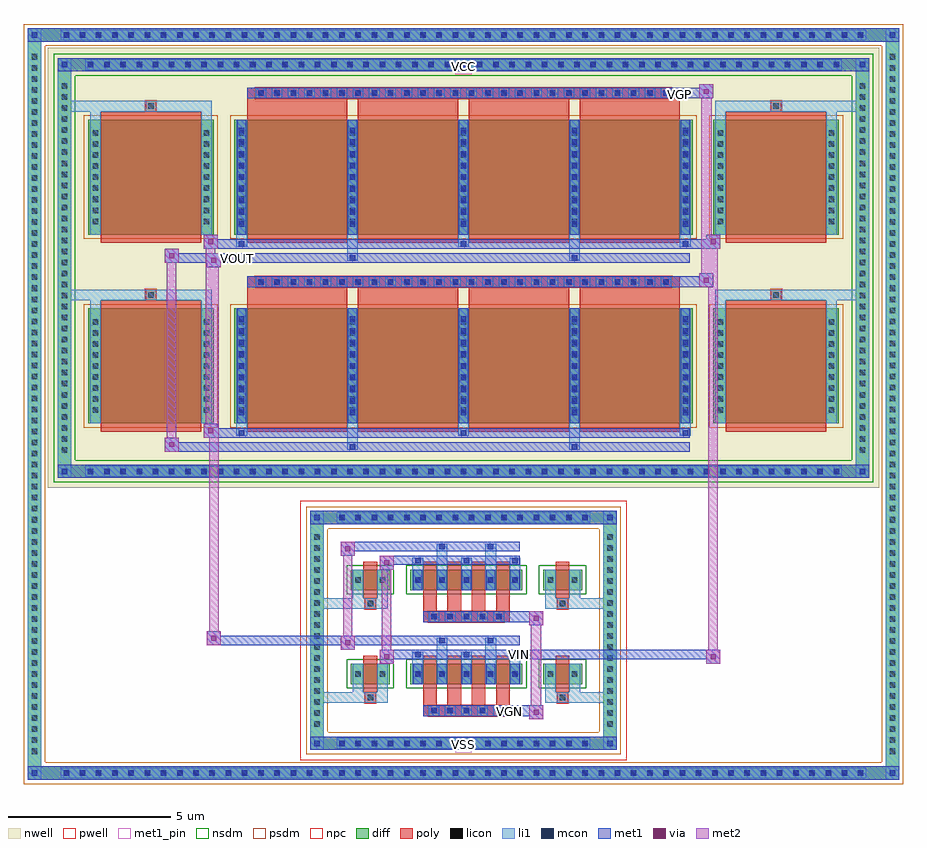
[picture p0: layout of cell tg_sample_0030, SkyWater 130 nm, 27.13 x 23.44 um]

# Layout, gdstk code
import gdstk
lib = gdstk.Library(unit=1e-6, precision=5e-09)
def R(c, l, rs):  # rectangles x0, y0, x1, y1
    for r in rs: c.add(gdstk.rectangle(r[:2], r[2:], *l))
def A(c, l, x, y, w, h, nx, ny, dx, dy):  # array of equal rectangles
    R(c, l, [(x+i*dx, y+j*dy, x+i*dx+w, y+j*dy+h) for i in range(nx) for j in range(ny)])
def P(c, l, *ps):  # polygons
    for p in ps: c.add(gdstk.Polygon(p, *l))
nwell = (64, 20)
pwell = (64, 44)
diff = (65, 20)
poly = (66, 20)
licon = (66, 44)
li1 = (67, 20)
mcon = (67, 44)
met1_pin = (68, 16)
met1 = (68, 20)
via = (68, 44)
met2 = (69, 20)
nsdm = (93, 44)
psdm = (94, 20)
npc = (95, 20)

tg_sample_0030 = lib.new_cell('tg_sample_0030')
R(tg_sample_0030, nwell, [(-12.825,4.395,12.825,17.965)])
R(tg_sample_0030, pwell, [(-5.035,-3.995,5.035,3.995)])
A(tg_sample_0030, diff, -12.455, -4.605, 0.41, 0.41, 50, 2, 0.5, 22.77)
A(tg_sample_0030, diff, -13.435, -3.93, 0.41, 0.41, 1, 64, 0, 0.34)
A(tg_sample_0030, diff, 13.025, -3.93, 0.41, 0.41, 1, 64, 0, 0.34)
A(tg_sample_0030, diff, -3.955, -3.685, 0.41, 0.41, 16, 2, 0.5, 6.96)
A(tg_sample_0030, diff, -4.725, -3.095, 0.41, 0.41, 1, 18, 0, 0.34)
A(tg_sample_0030, diff, 4.315, -3.095, 0.41, 0.41, 1, 18, 0, 0.34)
A(tg_sample_0030, diff, -11.705, 4.705, 0.41, 0.41, 47, 2, 0.5, 12.54)
A(tg_sample_0030, diff, -12.515, 5.365, 0.41, 0.41, 1, 34, 0, 0.34)
A(tg_sample_0030, diff, 12.105, 5.365, 0.41, 0.41, 1, 34, 0, 0.34)
R(tg_sample_0030, diff, [(-12.455,-4.605,12.455,-4.195), (-13.435,-3.93,-13.025,17.9), (13.025,-3.93,13.435,17.9), (-3.955,-3.685,3.955,-3.275), (-4.725,-3.095,-4.315,3.095), (4.315,-3.095,4.725,3.095), (-3.475,-1.655,-2.275,-1.025), (-1.635,-1.655,1.815,-1.025), (2.455,-1.655,3.655,-1.025), (-3.475,1.245,-2.275,1.875), (-1.635,1.245,1.815,1.875), (2.455,1.245,3.655,1.875), (-3.955,3.275,3.955,3.685), (-11.705,4.705,11.705,5.115), (-12.515,5.365,-12.105,16.995), (12.105,5.365,12.515,16.995), (-11.575,6.385,-7.705,9.935), (-7.065,6.385,7.065,9.935), (7.705,6.385,11.575,9.935), (-11.575,12.205,-7.705,15.755), (-7.065,12.205,7.065,15.755), (7.705,12.205,11.575,15.755), (-11.705,17.245,11.705,17.655), (-12.455,18.165,12.455,18.575)])
P(tg_sample_0030, diff, [(4.725,3.685),(-4.725,3.685),(-4.725,-3.275),(-4.315,-3.275),(-4.315,3.275),(4.315,3.275),(4.315,-3.275),(-4.315,-3.275),(-4.725,-3.275),(-4.725,-3.685),(4.725,-3.685)],
  [(13.435,18.575),(-13.435,18.575),(-13.435,-4.195),(-13.025,-4.195),(-13.025,18.165),(13.025,18.165),(13.025,-4.195),(-13.025,-4.195),(-13.435,-4.195),(-13.435,-4.605),(13.435,-4.605)],
  [(12.515,4.705),(-12.515,4.705),(-12.515,17.245),(-12.105,17.245),(-12.105,5.115),(12.105,5.115),(12.105,17.245),(-12.105,17.245),(-12.515,17.245),(-12.515,17.655),(12.515,17.655)])
A(tg_sample_0030, poly, -1.075, -2.64, 0.33, 0.33, 5, 2, 0.5, 2.9)
A(tg_sample_0030, poly, -1.245, -2.31, 0.42, 0.405, 4, 2, 0.75, 2.9)
A(tg_sample_0030, poly, -1.245, -1.905, 0.42, 1.13, 4, 2, 0.75, 2.9)
A(tg_sample_0030, poly, -6.675, 6.135, 3.09, 4.05, 4, 2, 3.42, 5.82)
A(tg_sample_0030, poly, -6.675, 10.185, 3.09, 0.405, 4, 2, 3.42, 5.82)
A(tg_sample_0030, poly, -6.415, 10.59, 0.33, 0.33, 26, 2, 0.5, 5.82)
R(tg_sample_0030, poly, [(-1.245,-2.64,1.425,-2.31), (-3.04,-2.235,-2.71,-1.905), (-3.04,-2.235,-2.71,-1.905), (2.89,-2.235,3.22,-1.905), (2.89,-2.235,3.22,-1.905), (-3.085,-1.905,-2.665,-0.775), (2.845,-1.905,3.265,-0.775), (-1.245,0.26,1.425,0.59), (-3.04,0.665,-2.71,0.995), (-3.04,0.665,-2.71,0.995), (2.89,0.665,3.22,0.995), (2.89,0.665,3.22,0.995), (-3.085,0.995,-2.665,2.125), (2.845,0.995,3.265,2.125), (-11.185,6.135,-8.095,10.185), (8.095,6.135,11.185,10.185), (-9.805,10.185,-9.475,10.515), (-9.805,10.185,-9.475,10.515), (9.475,10.185,9.805,10.515), (9.475,10.185,9.805,10.515), (-6.675,10.59,6.675,10.92), (-11.185,11.955,-8.095,16.005), (8.095,11.955,11.185,16.005), (-9.805,16.005,-9.475,16.335), (-9.805,16.005,-9.475,16.335), (9.475,16.005,9.805,16.335), (9.475,16.005,9.805,16.335), (-6.675,16.41,6.675,16.74)])
A(tg_sample_0030, licon, -12.335, -4.485, 0.17, 0.17, 50, 2, 0.5, 22.77)
A(tg_sample_0030, licon, -13.315, -3.81, 0.17, 0.17, 1, 64, 0, 0.34)
A(tg_sample_0030, licon, 13.145, -3.81, 0.17, 0.17, 1, 64, 0, 0.34)
A(tg_sample_0030, licon, -3.835, -3.565, 0.17, 0.17, 16, 2, 0.5, 6.96)
A(tg_sample_0030, licon, -4.605, -2.975, 0.17, 0.17, 1, 18, 0, 0.34)
A(tg_sample_0030, licon, 4.435, -2.975, 0.17, 0.17, 1, 18, 0, 0.34)
A(tg_sample_0030, licon, -0.995, -2.56, 0.17, 0.17, 5, 2, 0.5, 2.9)
A(tg_sample_0030, licon, -1.495, -1.425, 0.17, 0.17, 5, 2, 0.75, 2.9)
A(tg_sample_0030, licon, -11.585, 4.825, 0.17, 0.17, 47, 2, 0.5, 12.54)
A(tg_sample_0030, licon, -12.395, 5.485, 0.17, 0.17, 1, 34, 0, 0.34)
A(tg_sample_0030, licon, 12.225, 5.485, 0.17, 0.17, 1, 34, 0, 0.34)
A(tg_sample_0030, licon, -11.435, 6.715, 0.17, 0.17, 1, 9, 0, 0.34)
A(tg_sample_0030, licon, -8.015, 6.715, 0.17, 0.17, 1, 9, 0, 0.34)
A(tg_sample_0030, licon, -6.925, 6.715, 0.17, 0.17, 5, 9, 3.42, 0.34)
A(tg_sample_0030, licon, 7.845, 6.715, 0.17, 0.17, 1, 9, 0, 0.34)
A(tg_sample_0030, licon, 11.265, 6.715, 0.17, 0.17, 1, 9, 0, 0.34)
A(tg_sample_0030, licon, -6.335, 10.67, 0.17, 0.17, 26, 2, 0.5, 5.82)
A(tg_sample_0030, licon, -11.435, 12.535, 0.17, 0.17, 1, 9, 0, 0.34)
A(tg_sample_0030, licon, -8.015, 12.535, 0.17, 0.17, 1, 9, 0, 0.34)
A(tg_sample_0030, licon, -6.925, 12.535, 0.17, 0.17, 5, 9, 3.42, 0.34)
A(tg_sample_0030, licon, 7.845, 12.535, 0.17, 0.17, 1, 9, 0, 0.34)
A(tg_sample_0030, licon, 11.265, 12.535, 0.17, 0.17, 1, 9, 0, 0.34)
R(tg_sample_0030, licon, [(-2.96,-2.155,-2.79,-1.985), (2.97,-2.155,3.14,-1.985), (-3.335,-1.425,-3.165,-1.255), (-2.585,-1.425,-2.415,-1.255), (2.595,-1.425,2.765,-1.255), (3.345,-1.425,3.515,-1.255), (-2.96,0.745,-2.79,0.915), (2.97,0.745,3.14,0.915), (-3.335,1.475,-3.165,1.645), (-2.585,1.475,-2.415,1.645), (2.595,1.475,2.765,1.645), (3.345,1.475,3.515,1.645), (-9.725,10.265,-9.555,10.435), (9.555,10.265,9.725,10.435), (-9.725,16.085,-9.555,16.255), (9.555,16.085,9.725,16.255)])
A(tg_sample_0030, li1, -12.415, -4.565, 0.33, 0.33, 50, 2, 0.5, 22.77)
A(tg_sample_0030, li1, -13.395, -3.89, 0.33, 0.33, 1, 64, 0, 0.34)
A(tg_sample_0030, li1, 13.065, -3.89, 0.33, 0.33, 1, 64, 0, 0.34)
A(tg_sample_0030, li1, -3.915, -3.645, 0.33, 0.33, 16, 2, 0.5, 6.96)
A(tg_sample_0030, li1, -4.685, -3.055, 0.33, 0.33, 1, 18, 0, 0.34)
A(tg_sample_0030, li1, 4.355, -3.055, 0.33, 0.33, 1, 18, 0, 0.34)
A(tg_sample_0030, li1, -1.075, -2.64, 0.33, 0.33, 5, 2, 0.5, 2.9)
A(tg_sample_0030, li1, -1.575, -1.655, 0.33, 0.63, 5, 2, 0.75, 2.9)
A(tg_sample_0030, li1, -1.575, -1.505, 0.33, 0.33, 5, 2, 0.75, 2.9)
A(tg_sample_0030, li1, -1.575, -1.025, 0.33, 0.375, 3, 2, 1.5, 2.9)
A(tg_sample_0030, li1, -1.495, -0.82, 0.17, 0.17, 3, 2, 1.5, 2.9)
A(tg_sample_0030, li1, -11.665, 4.745, 0.33, 0.33, 47, 2, 0.5, 12.54)
A(tg_sample_0030, li1, -12.475, 5.405, 0.33, 0.33, 1, 34, 0, 0.34)
A(tg_sample_0030, li1, 12.145, 5.405, 0.33, 0.33, 1, 34, 0, 0.34)
A(tg_sample_0030, li1, -7.005, 6.01, 0.33, 0.375, 3, 2, 6.84, 5.82)
A(tg_sample_0030, li1, -6.925, 6.01, 0.17, 0.17, 3, 2, 6.84, 5.82)
A(tg_sample_0030, li1, -7.005, 6.385, 0.33, 3.55, 5, 2, 3.42, 5.82)
A(tg_sample_0030, li1, -11.515, 6.635, 0.33, 0.33, 1, 9, 0, 0.34)
A(tg_sample_0030, li1, -8.095, 6.635, 0.33, 0.33, 1, 9, 0, 0.34)
A(tg_sample_0030, li1, -7.005, 6.635, 0.33, 0.33, 5, 9, 3.42, 0.34)
A(tg_sample_0030, li1, -6.925, 6.635, 0.17, 0.17, 5, 9, 3.42, 0.36)
A(tg_sample_0030, li1, -6.925, 6.635, 0.17, 3.05, 5, 2, 3.42, 5.82)
A(tg_sample_0030, li1, 7.765, 6.635, 0.33, 0.33, 1, 9, 0, 0.34)
A(tg_sample_0030, li1, 11.185, 6.635, 0.33, 0.33, 1, 9, 0, 0.34)
A(tg_sample_0030, li1, -6.415, 10.59, 0.33, 0.33, 26, 2, 0.5, 5.82)
A(tg_sample_0030, li1, -11.515, 12.455, 0.33, 0.33, 1, 9, 0, 0.34)
A(tg_sample_0030, li1, -8.095, 12.455, 0.33, 0.33, 1, 9, 0, 0.34)
A(tg_sample_0030, li1, -7.005, 12.455, 0.33, 0.33, 5, 9, 3.42, 0.34)
A(tg_sample_0030, li1, -6.925, 12.455, 0.17, 0.17, 5, 9, 3.42, 0.36)
A(tg_sample_0030, li1, 7.765, 12.455, 0.33, 0.33, 1, 9, 0, 0.34)
A(tg_sample_0030, li1, 11.185, 12.455, 0.33, 0.33, 1, 9, 0, 0.34)
R(tg_sample_0030, li1, [(-13.435,-4.605,-13.025,-4.195), (13.025,-4.605,13.435,-4.195), (-12.415,-4.565,12.415,-4.235), (-13.315,-4.485,-13.145,-4.315), (-13.315,-4.485,-13.145,-4.315), (13.145,-4.485,13.315,-4.315), (13.145,-4.485,13.315,-4.315), (-13.435,-4.195,-13.025,18.165), (13.025,-4.195,13.435,18.165), (-4.725,-3.685,-4.315,-3.275), (4.315,-3.685,4.725,-3.275), (-3.915,-3.645,3.915,-3.315), (-4.605,-3.565,-4.435,-3.395), (-4.605,-3.565,-4.435,-3.395), (4.435,-3.565,4.605,-3.395), (4.435,-3.565,4.605,-3.395), (-4.725,-3.275,-4.315,3.275), (4.315,-3.275,4.725,3.275), (-4.725,-2.235,-3.04,-1.905), (-3.415,-2.235,-3.04,-1.905), (-3.415,-2.235,-3.085,-1.655), (-3.04,-2.235,-2.71,-1.905), (-2.71,-2.235,-2.335,-1.905), (-2.665,-2.235,-2.335,-1.655), (2.515,-2.235,2.89,-1.905), (2.515,-2.235,2.845,-1.655), (2.89,-2.235,3.22,-1.905), (2.89,-2.235,4.725,-1.905), (3.22,-2.235,3.595,-1.905), (3.265,-2.235,3.595,-1.655), (-3.415,-1.655,-3.085,-1.025), (-2.665,-1.655,-2.335,-1.025), (2.515,-1.655,2.845,-1.025), (3.265,-1.655,3.595,-1.025), (-3.415,-1.505,-3.085,-1.175), (-2.665,-1.505,-2.335,-1.175), (2.515,-1.505,2.845,-1.175), (3.265,-1.505,3.595,-1.175), (-1.495,-1.425,-1.325,-1.255), (-1.495,-1.425,-1.325,-1.255), (-0.745,-1.425,-0.575,-1.255), (-0.745,-1.425,-0.575,-1.255), (0.005,-1.425,0.175,-1.255), (0.005,-1.425,0.175,-1.255), (0.755,-1.425,0.925,-1.255), (0.755,-1.425,0.925,-1.255), (1.505,-1.425,1.675,-1.255), (1.505,-1.425,1.675,-1.255), (-0.825,-1.025,-0.495,-0.22), (0.675,-1.025,1.005,-0.22), (-0.745,-0.39,-0.575,-0.22), (0.755,-0.39,0.925,-0.22), (-4.725,0.665,-3.04,0.995), (-3.415,0.665,-3.04,0.995), (-3.415,0.665,-3.085,1.245), (-3.04,0.665,-2.71,0.995), (-2.71,0.665,-2.335,0.995), (-2.665,0.665,-2.335,1.245), (2.515,0.665,2.89,0.995), (2.515,0.665,2.845,1.245), (2.89,0.665,3.22,0.995), (2.89,0.665,4.725,0.995), (3.22,0.665,3.595,0.995), (3.265,0.665,3.595,1.245), (-3.415,1.245,-3.085,1.875), (-2.665,1.245,-2.335,1.875), (2.515,1.245,2.845,1.875), (3.265,1.245,3.595,1.875), (-3.415,1.395,-3.085,1.725), (-2.665,1.395,-2.335,1.725), (2.515,1.395,2.845,1.725), (3.265,1.395,3.595,1.725), (-1.495,1.475,-1.325,1.645), (-1.495,1.475,-1.325,1.645), (-0.745,1.475,-0.575,1.645), (-0.745,1.475,-0.575,1.645), (0.005,1.475,0.175,1.645), (0.005,1.475,0.175,1.645), (0.755,1.475,0.925,1.645), (0.755,1.475,0.925,1.645), (1.505,1.475,1.675,1.645), (1.505,1.475,1.675,1.645), (-0.825,1.875,-0.495,2.68), (0.675,1.875,1.005,2.68), (-0.745,2.51,-0.575,2.68), (0.755,2.51,0.925,2.68), (-4.725,3.275,-4.315,3.685), (4.315,3.275,4.725,3.685), (-3.915,3.315,3.915,3.645), (-4.605,3.395,-4.435,3.565), (-4.605,3.395,-4.435,3.565), (4.435,3.395,4.605,3.565), (4.435,3.395,4.605,3.565), (-12.515,4.705,-12.105,5.115), (12.105,4.705,12.515,5.115), (-11.665,4.745,11.665,5.075), (-12.395,4.825,-12.225,4.995), (-12.395,4.825,-12.225,4.995), (12.225,4.825,12.395,4.995), (12.225,4.825,12.395,4.995), (-12.515,5.115,-12.105,17.245), (12.105,5.115,12.515,17.245), (-3.585,5.58,-3.255,6.385), (-3.505,5.58,-3.335,5.75), (3.255,5.58,3.585,6.385), (3.335,5.58,3.505,5.75), (-11.515,6.385,-11.185,9.935), (-8.095,6.385,-7.765,9.935), (7.765,6.385,8.095,9.935), (11.185,6.385,11.515,9.935), (-11.515,9.935,-11.185,10.515), (-8.095,9.935,-7.765,10.515), (7.765,9.935,8.095,10.515), (11.185,9.935,11.515,10.515), (-12.515,10.185,-9.805,10.515), (-11.515,10.185,-9.805,10.515), (-9.805,10.185,-9.475,10.515), (-9.475,10.185,-7.765,10.515), (7.765,10.185,9.475,10.515), (9.475,10.185,9.805,10.515), (9.475,10.185,12.515,10.515), (9.805,10.185,11.515,10.515), (-3.585,11.4,-3.255,12.205), (-3.505,11.4,-3.335,11.57), (3.255,11.4,3.585,12.205), (3.335,11.4,3.505,11.57), (-11.515,12.205,-11.185,15.755), (-8.095,12.205,-7.765,15.755), (7.765,12.205,8.095,15.755), (11.185,12.205,11.515,15.755), (-11.515,15.755,-11.185,16.335), (-8.095,15.755,-7.765,16.335), (7.765,15.755,8.095,16.335), (11.185,15.755,11.515,16.335), (-12.515,16.005,-9.805,16.335), (-11.515,16.005,-9.805,16.335), (-9.805,16.005,-9.475,16.335), (-9.475,16.005,-7.765,16.335), (7.765,16.005,9.475,16.335), (9.475,16.005,9.805,16.335), (9.475,16.005,12.515,16.335), (9.805,16.005,11.515,16.335), (-12.515,17.245,-12.105,17.655), (12.105,17.245,12.515,17.655), (-11.665,17.285,11.665,17.615), (-12.395,17.365,-12.225,17.535), (-12.395,17.365,-12.225,17.535), (12.225,17.365,12.395,17.535), (12.225,17.365,12.395,17.535), (-13.435,18.165,-13.025,18.575), (13.025,18.165,13.435,18.575), (-12.415,18.205,12.415,18.535), (-13.315,18.285,-13.145,18.455), (-13.315,18.285,-13.145,18.455), (13.145,18.285,13.315,18.455), (13.145,18.285,13.315,18.455)])
A(tg_sample_0030, mcon, -12.335, -4.485, 0.17, 0.17, 50, 2, 0.5, 22.77)
A(tg_sample_0030, mcon, -3.835, -3.565, 0.17, 0.17, 16, 2, 0.5, 6.96)
A(tg_sample_0030, mcon, -0.995, -2.56, 0.17, 0.17, 5, 2, 0.5, 2.9)
A(tg_sample_0030, mcon, -1.495, -1.425, 0.17, 0.17, 5, 2, 0.75, 2.9)
A(tg_sample_0030, mcon, -1.495, -0.82, 0.17, 0.17, 3, 2, 1.5, 2.9)
A(tg_sample_0030, mcon, -11.585, 4.825, 0.17, 0.17, 47, 2, 0.5, 12.54)
A(tg_sample_0030, mcon, -6.925, 6.01, 0.17, 0.17, 3, 2, 6.84, 5.82)
A(tg_sample_0030, mcon, -6.925, 6.635, 0.17, 0.17, 5, 9, 3.42, 0.36)
A(tg_sample_0030, mcon, -6.335, 10.67, 0.17, 0.17, 26, 2, 0.5, 5.82)
A(tg_sample_0030, mcon, -6.925, 12.455, 0.17, 0.17, 5, 9, 3.42, 0.36)
R(tg_sample_0030, mcon, [(-13.315,-4.485,-13.145,-4.315), (13.145,-4.485,13.315,-4.315), (-4.605,-3.565,-4.435,-3.395), (4.435,-3.565,4.605,-3.395), (-0.745,-0.39,-0.575,-0.22), (0.755,-0.39,0.925,-0.22), (-0.745,2.51,-0.575,2.68), (0.755,2.51,0.925,2.68), (-4.605,3.395,-4.435,3.565), (4.435,3.395,4.605,3.565), (-12.395,4.825,-12.225,4.995), (12.225,4.825,12.395,4.995), (-3.505,5.58,-3.335,5.75), (3.335,5.58,3.505,5.75), (-3.505,11.4,-3.335,11.57), (3.335,11.4,3.505,11.57), (-12.395,17.365,-12.225,17.535), (12.225,17.365,12.395,17.535), (-13.315,18.285,-13.145,18.455), (13.145,18.285,13.315,18.455)])
R(tg_sample_0030, met1_pin, [(-0.25,-3.775,0.25,-3.275), (1.29,-2.64,1.56,-2.37), (1.6,-0.88,1.87,-0.61), (-7.12,11.34,-6.85,11.61), (6.54,16.41,6.81,16.68), (-0.25,17.155,0.25,17.655)])
A(tg_sample_0030, met1, -12.395, -4.545, 0.29, 0.29, 50, 2, 0.5, 22.77)
A(tg_sample_0030, met1, -3.895, -3.625, 0.29, 0.29, 16, 2, 0.5, 6.96)
A(tg_sample_0030, met1, -1.055, -2.62, 0.29, 0.29, 5, 2, 0.5, 2.9)
A(tg_sample_0030, met1, -1.555, -1.655, 0.29, 0.63, 5, 2, 0.75, 2.9)
A(tg_sample_0030, met1, -1.555, -1.485, 0.29, 0.29, 5, 2, 0.75, 2.9)
A(tg_sample_0030, met1, -1.555, -0.88, 0.29, 0.29, 3, 2, 1.5, 2.9)
A(tg_sample_0030, met1, -11.645, 4.765, 0.29, 0.29, 47, 2, 0.5, 12.54)
A(tg_sample_0030, met1, -6.985, 5.95, 0.29, 0.29, 3, 2, 6.84, 5.82)
A(tg_sample_0030, met1, -6.985, 6.385, 0.29, 3.55, 5, 2, 3.42, 5.82)
A(tg_sample_0030, met1, -6.985, 6.575, 0.29, 0.29, 5, 9, 3.42, 0.36)
A(tg_sample_0030, met1, -6.395, 10.61, 0.29, 0.29, 26, 2, 0.5, 5.82)
A(tg_sample_0030, met1, -6.985, 12.395, 0.29, 0.29, 5, 9, 3.42, 0.36)
R(tg_sample_0030, met1, [(-13.435,-4.605,-13.025,-4.195), (-13.435,-4.605,-13.025,-4.195), (-13.025,-4.605,13.025,-4.195), (13.025,-4.605,13.435,-4.195), (13.025,-4.605,13.435,-4.195), (-13.375,-4.545,-13.085,-4.255), (13.085,-4.545,13.375,-4.255), (-4.725,-3.685,-4.315,-3.275), (-4.725,-3.685,-4.315,-3.275), (-4.315,-3.685,4.315,-3.275), (4.315,-3.685,4.725,-3.275), (4.315,-3.685,4.725,-3.275), (-4.665,-3.625,-4.375,-3.335), (4.375,-3.625,4.665,-3.335), (2.025,-2.74,2.455,-2.31), (-1.245,-2.64,1.425,-2.31), (1.425,-2.64,2.455,-2.31), (-2.585,-1.02,-2.155,-0.59), (7.485,-1.02,7.915,-0.59), (-2.585,-0.88,-1.555,-0.59), (-1.555,-0.88,1.735,-0.59), (1.735,-0.88,7.915,-0.59), (-3.785,-0.59,-3.355,-0.16), (-7.915,-0.45,-7.485,-0.02), (-7.915,-0.45,-1.555,-0.16), (-3.785,-0.45,-1.555,-0.16), (-1.555,-0.45,1.735,-0.16), (-0.805,-0.45,-0.515,-0.16), (0.695,-0.45,0.985,-0.16), (2.025,0.16,2.455,0.59), (-1.245,0.26,1.425,0.59), (1.425,0.26,2.455,0.59), (-2.585,1.88,-2.155,2.31), (-2.585,2.02,-1.555,2.31), (-1.555,2.02,1.735,2.31), (-3.785,2.31,-3.355,2.74), (-3.785,2.45,-1.555,2.74), (-1.555,2.45,1.735,2.74), (-0.805,2.45,-0.515,2.74), (0.695,2.45,0.985,2.74), (-4.725,3.275,-4.315,3.685), (-4.725,3.275,-4.315,3.685), (-4.315,3.275,4.315,3.685), (4.315,3.275,4.725,3.685), (4.315,3.275,4.725,3.685), (-4.665,3.335,-4.375,3.625), (4.375,3.335,4.665,3.625), (-12.515,4.705,-12.105,5.115), (-12.515,4.705,-12.105,5.115), (-12.105,4.705,12.105,5.115), (12.105,4.705,12.515,5.115), (12.105,4.705,12.515,5.115), (-12.455,4.765,-12.165,5.055), (12.165,4.765,12.455,5.055), (-9.215,5.52,-8.785,5.95), (-9.215,5.52,-6.985,5.81), (-6.985,5.52,6.985,5.81), (-3.565,5.52,-3.275,5.81), (3.275,5.52,3.565,5.81), (-8.015,5.95,-7.585,6.38), (-8.015,5.95,-6.985,6.24), (-6.985,5.95,6.985,6.24), (-6.675,10.59,6.675,10.92), (6.675,10.59,7.705,10.92), (7.275,10.59,7.705,11.02), (-7.915,11.2,-7.485,11.63), (-9.215,11.34,-8.785,11.77), (-9.215,11.34,-6.985,11.63), (-7.915,11.34,-6.985,11.63), (-6.985,11.34,6.985,11.63), (-3.565,11.34,-3.275,11.63), (3.275,11.34,3.565,11.63), (-8.015,11.77,-7.585,12.2), (-8.015,11.77,-6.985,12.06), (-6.985,11.77,6.985,12.06), (6.985,11.77,7.915,12.06), (7.485,11.77,7.915,12.2), (-6.675,16.41,6.675,16.74), (6.675,16.41,7.705,16.74), (7.275,16.41,7.705,16.84), (-12.515,17.245,-12.105,17.655), (-12.515,17.245,-12.105,17.655), (-12.105,17.245,12.105,17.655), (12.105,17.245,12.515,17.655), (12.105,17.245,12.515,17.655), (-12.455,17.305,-12.165,17.595), (12.165,17.305,12.455,17.595), (-13.435,18.165,-13.025,18.575), (-13.435,18.165,-13.025,18.575), (-13.025,18.165,13.025,18.575), (13.025,18.165,13.435,18.575), (13.025,18.165,13.435,18.575), (-13.375,18.225,-13.085,18.515), (13.085,18.225,13.375,18.515)])
R(tg_sample_0030, via, [(2.165,-2.6,2.315,-2.45), (-2.445,-0.88,-2.295,-0.73), (7.625,-0.88,7.775,-0.73), (-3.645,-0.45,-3.495,-0.3), (-7.775,-0.31,-7.625,-0.16), (2.165,0.3,2.315,0.45), (-2.445,2.02,-2.295,2.17), (-3.645,2.45,-3.495,2.6), (-9.075,5.66,-8.925,5.81), (-7.875,6.09,-7.725,6.24), (7.415,10.73,7.565,10.88), (-7.775,11.34,-7.625,11.49), (-9.075,11.48,-8.925,11.63), (-7.875,11.91,-7.725,12.06), (7.625,11.91,7.775,12.06), (7.415,16.55,7.565,16.7)])
R(tg_sample_0030, met2, [(2.025,-2.74,2.455,-2.31), (2.075,-2.74,2.405,0.59), (2.405,-2.74,2.455,-2.31), (2.075,-2.69,2.405,-2.36), (-2.585,-1.02,-2.155,-0.59), (-2.515,-1.02,-2.225,2.31), (-2.225,-1.02,-2.155,-0.59), (7.485,-1.02,7.915,-0.59), (7.555,-1.02,7.845,12.2), (7.845,-1.02,7.915,-0.59), (-2.535,-0.97,-2.205,-0.64), (7.535,-0.97,7.865,-0.64), (-3.785,-0.59,-3.355,-0.16), (-3.715,-0.59,-3.425,2.74), (-3.425,-0.59,-3.355,-0.16), (-3.735,-0.54,-3.405,-0.21), (-7.915,-0.45,-7.485,-0.02), (-7.845,-0.45,-7.555,11.63), (-7.555,-0.45,-7.485,-0.02), (-7.865,-0.4,-7.535,-0.07), (2.025,0.16,2.455,0.59), (2.405,0.16,2.455,0.59), (2.075,0.21,2.405,0.54), (-2.585,1.88,-2.155,2.31), (-2.225,1.88,-2.155,2.31), (-2.535,1.93,-2.205,2.26), (-3.785,2.31,-3.355,2.74), (-3.425,2.31,-3.355,2.74), (-3.735,2.36,-3.405,2.69), (-9.215,5.52,-8.785,5.95), (-9.145,5.52,-8.855,11.77), (-8.855,5.52,-8.785,5.95), (-9.165,5.57,-8.835,5.9), (-8.015,5.95,-7.585,6.38), (-7.945,5.95,-7.655,12.2), (-7.655,5.95,-7.585,6.38), (-7.965,6,-7.635,6.33), (7.275,10.59,7.705,11.02), (7.325,10.59,7.655,16.84), (7.655,10.59,7.705,11.02), (7.325,10.64,7.655,10.97), (-7.915,11.2,-7.485,11.63), (-7.555,11.2,-7.485,11.63), (-7.865,11.25,-7.535,11.58), (-9.215,11.34,-8.785,11.77), (-8.855,11.34,-8.785,11.77), (-9.165,11.39,-8.835,11.72), (-8.015,11.77,-7.585,12.2), (-7.655,11.77,-7.585,12.2), (7.485,11.77,7.915,12.2), (7.845,11.77,7.915,12.2), (-7.965,11.82,-7.635,12.15), (7.535,11.82,7.865,12.15), (7.275,16.41,7.705,16.84), (7.655,16.41,7.705,16.84), (7.325,16.46,7.655,16.79)])
R(tg_sample_0030, nsdm, [(-3.605,-1.785,-2.145,-0.895), (-1.765,-1.785,1.945,-0.895), (2.325,-1.785,3.785,-0.895), (-3.605,1.115,-2.145,2.005), (-1.765,1.115,1.945,2.005), (2.325,1.115,3.785,2.005)])
P(tg_sample_0030, nsdm, [(12.645,4.575),(-12.645,4.575),(-12.645,17.115),(-11.975,17.115),(-11.975,5.245),(11.975,5.245),(11.975,17.115),(-11.975,17.115),(-12.645,17.115),(-12.645,17.785),(12.645,17.785)])
R(tg_sample_0030, psdm, [(-11.705,6.255,-7.575,10.065), (-7.195,6.255,7.195,10.065), (7.575,6.255,11.705,10.065), (-11.705,12.075,-7.575,15.885), (-7.195,12.075,7.195,15.885), (7.575,12.075,11.705,15.885)])
P(tg_sample_0030, psdm, [(4.855,3.815),(-4.855,3.815),(-4.855,-3.145),(-4.185,-3.145),(-4.185,3.145),(4.185,3.145),(4.185,-3.145),(-4.185,-3.145),(-4.855,-3.145),(-4.855,-3.815),(4.855,-3.815)],
  [(13.565,18.705),(-13.565,18.705),(-13.565,-4.065),(-12.895,-4.065),(-12.895,18.035),(12.895,18.035),(12.895,-4.065),(-12.895,-4.065),(-13.565,-4.065),(-13.565,-4.735),(13.565,-4.735)])
A(tg_sample_0030, npc, -1.095, -2.66, 0.37, 0.37, 5, 2, 0.5, 2.9)
A(tg_sample_0030, npc, -6.435, 10.57, 0.37, 0.37, 26, 2, 0.5, 5.82)
R(tg_sample_0030, npc, [(-1.095,-2.66,-0.225,-2.29), (-1.095,-2.66,-0.225,-2.29), (-0.595,-2.66,0.275,-2.29), (-0.595,-2.66,0.275,-2.29), (-0.095,-2.66,0.775,-2.29), (-0.095,-2.66,0.775,-2.29), (0.405,-2.66,1.275,-2.29), (0.405,-2.66,1.275,-2.29), (-3.06,-2.255,-2.69,-1.885), (2.87,-2.255,3.24,-1.885), (-1.095,0.24,-0.225,0.61), (-1.095,0.24,-0.225,0.61), (-0.595,0.24,0.275,0.61), (-0.595,0.24,0.275,0.61), (-0.095,0.24,0.775,0.61), (-0.095,0.24,0.775,0.61), (0.405,0.24,1.275,0.61), (0.405,0.24,1.275,0.61), (-3.06,0.645,-2.69,1.015), (2.87,0.645,3.24,1.015), (-9.825,10.165,-9.455,10.535), (9.455,10.165,9.825,10.535), (-6.435,10.57,-5.565,10.94), (-6.435,10.57,-5.565,10.94), (-5.935,10.57,-5.065,10.94), (-5.935,10.57,-5.065,10.94), (-5.435,10.57,-4.565,10.94), (-5.435,10.57,-4.565,10.94), (-4.935,10.57,-4.065,10.94), (-4.935,10.57,-4.065,10.94), (-4.435,10.57,-3.565,10.94), (-4.435,10.57,-3.565,10.94), (-3.935,10.57,-3.065,10.94), (-3.935,10.57,-3.065,10.94), (-3.435,10.57,-2.565,10.94), (-3.435,10.57,-2.565,10.94), (-2.935,10.57,-2.065,10.94), (-2.935,10.57,-2.065,10.94), (-2.435,10.57,-1.565,10.94), (-2.435,10.57,-1.565,10.94), (-1.935,10.57,-1.065,10.94), (-1.935,10.57,-1.065,10.94), (-1.435,10.57,-0.565,10.94), (-1.435,10.57,-0.565,10.94), (-0.935,10.57,-0.065,10.94), (-0.935,10.57,-0.065,10.94), (-0.435,10.57,0.435,10.94), (-0.435,10.57,0.435,10.94), (0.065,10.57,0.935,10.94), (0.065,10.57,0.935,10.94), (0.565,10.57,1.435,10.94), (0.565,10.57,1.435,10.94), (1.065,10.57,1.935,10.94), (1.065,10.57,1.935,10.94), (1.565,10.57,2.435,10.94), (1.565,10.57,2.435,10.94), (2.065,10.57,2.935,10.94), (2.065,10.57,2.935,10.94), (2.565,10.57,3.435,10.94), (2.565,10.57,3.435,10.94), (3.065,10.57,3.935,10.94), (3.065,10.57,3.935,10.94), (3.565,10.57,4.435,10.94), (3.565,10.57,4.435,10.94), (4.065,10.57,4.935,10.94), (4.065,10.57,4.935,10.94), (4.565,10.57,5.435,10.94), (4.565,10.57,5.435,10.94), (5.065,10.57,5.935,10.94), (5.065,10.57,5.935,10.94), (5.565,10.57,6.435,10.94), (5.565,10.57,6.435,10.94), (-9.825,15.985,-9.455,16.355), (9.455,15.985,9.825,16.355), (-6.435,16.39,-5.565,16.76), (-6.435,16.39,-5.565,16.76), (-5.935,16.39,-5.065,16.76), (-5.935,16.39,-5.065,16.76), (-5.435,16.39,-4.565,16.76), (-5.435,16.39,-4.565,16.76), (-4.935,16.39,-4.065,16.76), (-4.935,16.39,-4.065,16.76), (-4.435,16.39,-3.565,16.76), (-4.435,16.39,-3.565,16.76), (-3.935,16.39,-3.065,16.76), (-3.935,16.39,-3.065,16.76), (-3.435,16.39,-2.565,16.76), (-3.435,16.39,-2.565,16.76), (-2.935,16.39,-2.065,16.76), (-2.935,16.39,-2.065,16.76), (-2.435,16.39,-1.565,16.76), (-2.435,16.39,-1.565,16.76), (-1.935,16.39,-1.065,16.76), (-1.935,16.39,-1.065,16.76), (-1.435,16.39,-0.565,16.76), (-1.435,16.39,-0.565,16.76), (-0.935,16.39,-0.065,16.76), (-0.935,16.39,-0.065,16.76), (-0.435,16.39,0.435,16.76), (-0.435,16.39,0.435,16.76), (0.065,16.39,0.935,16.76), (0.065,16.39,0.935,16.76), (0.565,16.39,1.435,16.76), (0.565,16.39,1.435,16.76), (1.065,16.39,1.935,16.76), (1.065,16.39,1.935,16.76), (1.565,16.39,2.435,16.76), (1.565,16.39,2.435,16.76), (2.065,16.39,2.935,16.76), (2.065,16.39,2.935,16.76), (2.565,16.39,3.435,16.76), (2.565,16.39,3.435,16.76), (3.065,16.39,3.935,16.76), (3.065,16.39,3.935,16.76), (3.565,16.39,4.435,16.76), (3.565,16.39,4.435,16.76), (4.065,16.39,4.935,16.76), (4.065,16.39,4.935,16.76), (4.565,16.39,5.435,16.76), (4.565,16.39,5.435,16.76), (5.065,16.39,5.935,16.76), (5.065,16.39,5.935,16.76), (5.565,16.39,6.435,16.76), (5.565,16.39,6.435,16.76)])
tg_sample_0030.add(gdstk.Label('VIN', (1.735,-0.745), layer=68, texttype=5))
tg_sample_0030.add(gdstk.Label('VGN', (1.425,-2.505), layer=68, texttype=5))
tg_sample_0030.add(gdstk.Label('VGP', (6.675,16.545), layer=68, texttype=5))
tg_sample_0030.add(gdstk.Label('VSS', (0,-3.525), layer=68, texttype=5))
tg_sample_0030.add(gdstk.Label('VCC', (0,17.405), layer=68, texttype=5))
tg_sample_0030.add(gdstk.Label('VOUT', (-6.985,11.475), layer=68, texttype=5))

lib.write_gds('tg_sample_0030.gds')
